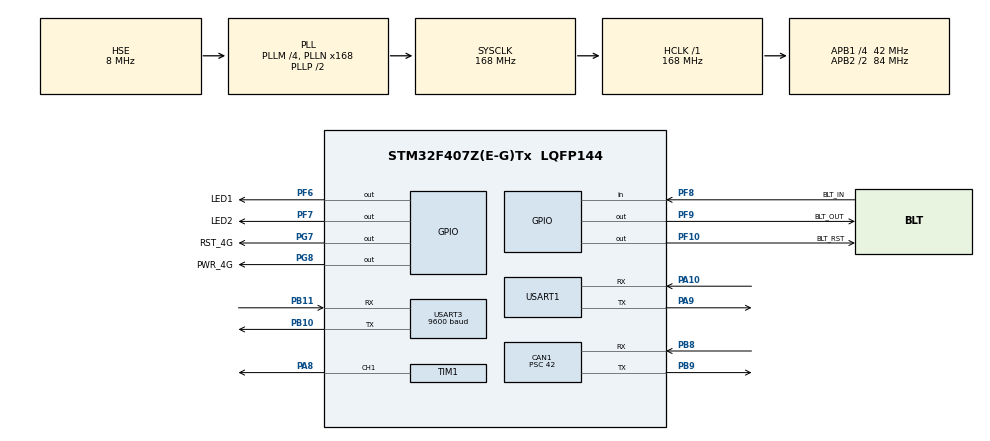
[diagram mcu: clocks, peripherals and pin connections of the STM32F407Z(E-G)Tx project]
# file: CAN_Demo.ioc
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CAN1.ABOM=ENABLE
CAN1.AWUM=ENABLE
CAN1.BS1=CAN_BS1_3TQ
CAN1.BS2=CAN_BS2_4TQ
CAN1.CalculateBaudRate=125000
CAN1.CalculateTimeBit=8000
CAN1.CalculateTimeQuantum=1000.0
CAN1.Prescaler=42
CAN1.SJW=CAN_SJW_1TQ
Dma.Request0=TIM1_CH1
Dma.TIM1_CH1.0.Direction=DMA_MEMORY_TO_PERIPH
Dma.TIM1_CH1.0.FIFOMode=DMA_FIFOMODE_DISABLE
Dma.TIM1_CH1.0.Instance=DMA2_Stream1
Dma.TIM1_CH1.0.MemDataAlignment=DMA_MDATAALIGN_HALFWORD
Dma.TIM1_CH1.0.MemInc=DMA_MINC_ENABLE
Dma.TIM1_CH1.0.Mode=DMA_NORMAL
Dma.TIM1_CH1.0.PeriphDataAlignment=DMA_PDATAALIGN_HALFWORD
Dma.TIM1_CH1.0.PeriphInc=DMA_PINC_DISABLE
Dma.TIM1_CH1.0.Priority=DMA_PRIORITY_LOW
Mcu.Family=STM32F4
Mcu.Name=STM32F407Z(E-G)Tx
Mcu.Package=LQFP144
NVIC.CAN1_RX0_IRQn=true\:0\:0\:false\:false\:true\:true\:true\:true
NVIC.DMA2_Stream1_IRQn=true\:0\:0\:false\:false\:true\:false\:true\:true
NVIC.PriorityGroup=NVIC_PRIORITYGROUP_4
NVIC.USART1_IRQn=true\:0\:0\:false\:false\:true\:true\:true\:true
NVIC.USART3_IRQn=true\:0\:0\:false\:false\:true\:true\:true\:true
PA10.Mode=Asynchronous
PA10.Signal=USART1_RX
PA13.Mode=Serial_Wire
PA13.Signal=SYS_JTMS-SWDIO
PA14.Mode=Serial_Wire
PA14.Signal=SYS_JTCK-SWCLK
PA8.Signal=S_TIM1_CH1
PA9.Mode=Asynchronous
PA9.Signal=USART1_TX
PB10.Mode=Asynchronous
PB10.Signal=USART3_TX
PB11.Mode=Asynchronous
PB11.Signal=USART3_RX
PB8.Mode=CAN_Activate
PB8.Signal=CAN1_RX
PB9.Mode=CAN_Activate
PB9.Signal=CAN1_TX
PF10.GPIO_Label=BLT_RST
PF10.Signal=GPIO_Output
PF6.GPIO_Label=LED1
PF6.Signal=GPIO_Output
PF7.GPIO_Label=LED2
PF7.Signal=GPIO_Output
PF8.GPIO_Label=BLT_IN
PF8.Signal=GPIO_Input
PF9.GPIO_Label=BLT_OUT
PF9.Signal=GPIO_Output
PG7.GPIO_Label=RST_4G
PG7.Signal=GPIO_Output
PG8.GPIO_Label=PWR_4G
PG8.Signal=GPIO_Output
PH0-OSC_IN.Mode=HSE-External-Oscillator
PH0-OSC_IN.Signal=RCC_OSC_IN
PH1-OSC_OUT.Mode=HSE-External-Oscillator
PH1-OSC_OUT.Signal=RCC_OSC_OUT
ProjectManager.HeapSize=0x200
ProjectManager.StackSize=0x400
ProjectManager.TargetToolchain=MDK-ARM V5.32
RCC.48MHZClocksFreq_Value=84000000
RCC.AHBFreq_Value=168000000
RCC.APB1CLKDivider=RCC_HCLK_DIV4
RCC.APB1Freq_Value=42000000
RCC.APB1TimFreq_Value=84000000
RCC.APB2CLKDivider=RCC_HCLK_DIV2
RCC.APB2Freq_Value=84000000
RCC.APB2TimFreq_Value=168000000
RCC.CortexFreq_Value=168000000
RCC.EnbaleCSS=true
RCC.HCLKFreq_Value=168000000
RCC.HSE_VALUE=8000000
RCC.HSI_VALUE=16000000
RCC.LSE_VALUE=32768
RCC.PLLM=4
RCC.PLLN=168
RCC.PLLSourceVirtual=RCC_PLLSOURCE_HSE
RCC.SYSCLKFreq_VALUE=168000000
RCC.SYSCLKSource=RCC_SYSCLKSOURCE_PLLCLK
RCC.VCOOutputFreq_Value=336000000
SH.S_TIM1_CH1.0=TIM1_CH1,PWM Generation1 CH1
TIM1.Channel-PWM\ Generation1\ CH1=TIM_CHANNEL_1
TIM1.Period=209
USART1.VirtualMode=VM_ASYNC
USART3.BaudRate=9600
USART3.VirtualMode=VM_ASYNC
VP_TIM1_VS_ClockSourceINT.Mode=Internal
board=custom

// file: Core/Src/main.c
/* USER CODE BEGIN Header */
/**
  ******************************************************************************
  * @file           : main.c
  * @brief          : Main program body
  ******************************************************************************
  * @attention
  *
  * Copyright (c) 2022 STMicroelectronics.
  * All rights reserved.
  *
  * This software is licensed under terms that can be found in the LICENSE file
  * in the root directory of this software component.
  * If no LICENSE file comes with this software, it is provided AS-IS.
  *
  ******************************************************************************
  */
/* USER CODE END Header */
#include "main.h"
#include "can.h"
#include "dma.h"
#include "tim.h"
#include "usart.h"
#include "gpio.h"

/* USER CODE BEGIN Includes */
#include "stdio.h"
#include "string.h"
#include "Bsp_CAN.h"
#include "bsp_ws2812b.h"
#include "bsp_BC260Y.h"
/* USER CODE END Includes */

/* USER CODE BEGIN PV */
char str_buffer[100];
/* USER CODE END PV */

void SystemClock_Config(void);

int main(void)
{

  /* MCU Configuration--------------------------------------------------------*/

  /* Reset of all peripherals, Initializes the Flash interface and the Systick. */
  HAL_Init();

  /* Configure the system clock */
  SystemClock_Config();

  /* Initialize all configured peripherals */
  MX_GPIO_Init();
  MX_DMA_Init();
  MX_USART1_UART_Init();
  MX_CAN1_Init();
  MX_USART3_UART_Init();
  MX_TIM1_Init();
  /* USER CODE BEGIN 2 */
	HAL_UART_Receive_IT(&huart1, (uint8_t *)&aRxBuffer1, 1);
  HAL_UART_Receive_IT(&huart3, (uint8_t *)&aRxBuffer3, 1);

	//蓝牙模块开机
	HAL_GPIO_WritePin(BLT_IN_GPIO_Port, BLT_IN_Pin, GPIO_PIN_SET);
	HAL_GPIO_WritePin(BLT_OUT_GPIO_Port, BLT_OUT_Pin, GPIO_PIN_RESET);
	HAL_GPIO_WritePin(BLT_RST_GPIO_Port, BLT_RST_Pin, GPIO_PIN_SET);

	//进入main函数之前清空buffer和标志位.
	#if Receiver
	mqttServiceStartup();
	#endif
    /* 1. CAN Filter Config */
  CanFilterInit();

  /* USER CODE END 2 */

  /* Infinite loop */
  /* USER CODE BEGIN WHILE */
  while (1)
  {
		//CAN1_Send_Test();
		//ws2812_init(12);
#if Transmitter
		carDataUpdate();
#endif
//		HAL_Delay(500);
//		ws2812_blue(12);
//		HAL_Delay(500);
		#if Receiver
		if(uploadFlag)
		{
			jsonPack();
			uploadFlag = 0;
		}

		#endif
		HAL_GPIO_TogglePin(GPIOF, GPIO_PIN_6|GPIO_PIN_7);
		HAL_Delay(50);

		//HAL_GPIO_TogglePin(GPIOF, GPIO_PIN_6|GPIO_PIN_7);
    /* USER CODE END WHILE */

  }
}

void SystemClock_Config(void)
{
  RCC_OscInitTypeDef RCC_OscInitStruct = {0};
  RCC_ClkInitTypeDef RCC_ClkInitStruct = {0};

  /** Configure the main internal regulator output voltage
  */
  __HAL_RCC_PWR_CLK_ENABLE();
  __HAL_PWR_VOLTAGESCALING_CONFIG(PWR_REGULATOR_VOLTAGE_SCALE1);

  /** Initializes the RCC Oscillators according to the specified parameters
  * in the RCC_OscInitTypeDef structure.
  */
  RCC_OscInitStruct.OscillatorType = RCC_OSCILLATORTYPE_HSE;
  RCC_OscInitStruct.HSEState = RCC_HSE_ON;
  RCC_OscInitStruct.PLL.PLLState = RCC_PLL_ON;
  RCC_OscInitStruct.PLL.PLLSource = RCC_PLLSOURCE_HSE;
  RCC_OscInitStruct.PLL.PLLM = 4;
  RCC_OscInitStruct.PLL.PLLN = 168;
  RCC_OscInitStruct.PLL.PLLP = RCC_PLLP_DIV2;
  RCC_OscInitStruct.PLL.PLLQ = 4;
  if (HAL_RCC_OscConfig(&RCC_OscInitStruct) != HAL_OK)
  {
    Error_Handler();
  }

  /** Initializes the CPU, AHB and APB buses clocks
  */
  RCC_ClkInitStruct.ClockType = RCC_CLOCKTYPE_HCLK|RCC_CLOCKTYPE_SYSCLK
                              |RCC_CLOCKTYPE_PCLK1|RCC_CLOCKTYPE_PCLK2;
  RCC_ClkInitStruct.SYSCLKSource = RCC_SYSCLKSOURCE_PLLCLK;
  RCC_ClkInitStruct.AHBCLKDivider = RCC_SYSCLK_DIV1;
  RCC_ClkInitStruct.APB1CLKDivider = RCC_HCLK_DIV4;
  RCC_ClkInitStruct.APB2CLKDivider = RCC_HCLK_DIV2;

  if (HAL_RCC_ClockConfig(&RCC_ClkInitStruct, FLASH_LATENCY_5) != HAL_OK)
  {
    Error_Handler();
  }

  /** Enables the Clock Security System
  */
  HAL_RCC_EnableCSS();
}

void Error_Handler(void)
{
  /* USER CODE BEGIN Error_Handler_Debug */
  /* User can add his own implementation to report the HAL error return state */
  __disable_irq();
  while (1)
  {
		usartTxFlag = 1;
		printf("some error here.");
		HAL_Delay(500);
  }
  /* USER CODE END Error_Handler_Debug */
}
